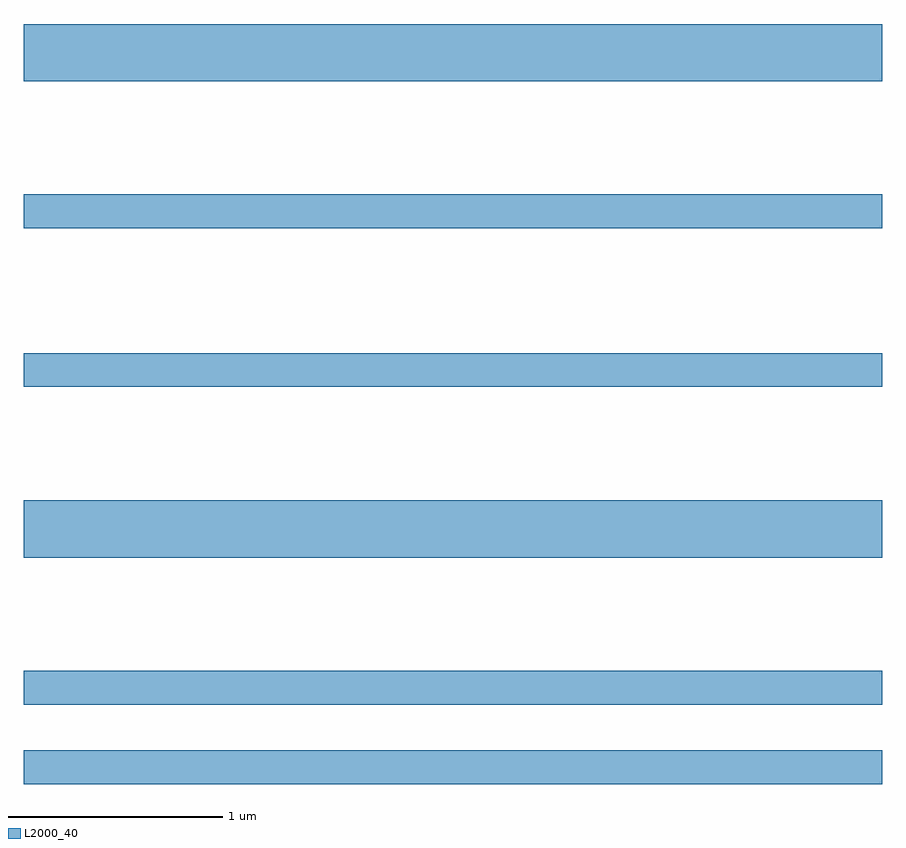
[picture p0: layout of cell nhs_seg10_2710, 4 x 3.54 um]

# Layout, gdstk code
import gdstk
lib = gdstk.Library(unit=1e-6, precision=1e-09)
def R(c, l, rs):  # rectangles x0, y0, x1, y1
    for r in rs: c.add(gdstk.rectangle(r[:2], r[2:], *l))
L2000_40 = (2000, 40)

nhs_seg10_2710 = lib.new_cell('nhs_seg10_2710')
R(nhs_seg10_2710, L2000_40, [(263.611,2214.981,267.611,2215.139), (263.611,2215.351,267.611,2215.509), (263.611,2216.036,267.611,2216.304), (263.611,2216.831,267.611,2216.989), (263.611,2217.571,267.611,2217.729), (263.611,2218.256,267.611,2218.522)])

lib.write_gds('nhs_seg10_2710.gds')
